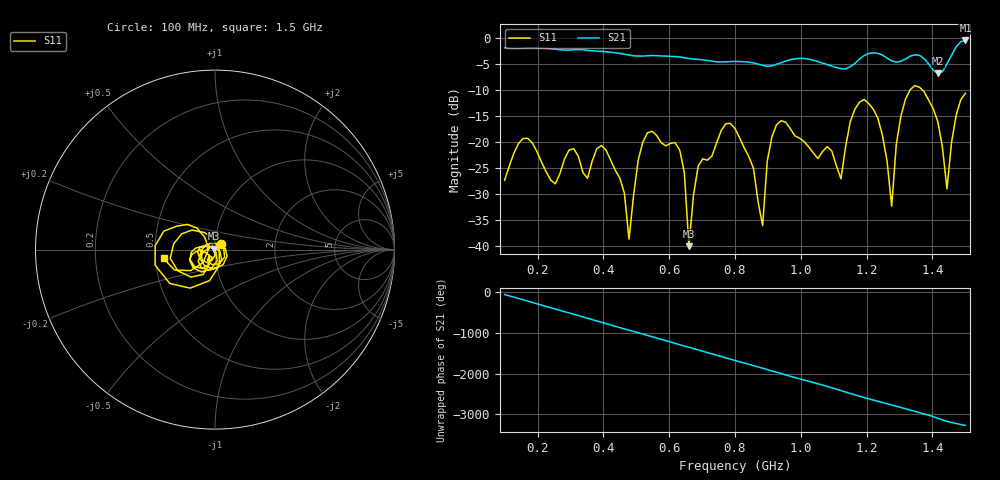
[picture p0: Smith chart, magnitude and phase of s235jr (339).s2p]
! NanoVNA-App
! Date: 2025-09-25 15:06:48
! Start: 100MHz Stop: 1,5GHz Points: 101
! S-Parameter data: F S11 S21 S12 S22
# Hz S RI R 50
!  Frequency  S11_Real  S11_Imag  S21_Real  S21_Imag  S12_Real  S12_Imag  S22_Real  S22_Imag
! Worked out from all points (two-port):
!   101 points, 100 MHz to 1.5 GHz, reference 50 ohm
!   highest |S21| = -0.56 dB at 1.5 GHz (marker M1); lowest = -6.9 dB at 1.416 GHz (marker M2)
!   |S21| within 3 dB of the highest: start of sweep to 503.1 MHz; 1.191 GHz to 1.253 GHz (62.05 MHz wide, 5.08 % of centre) (the widest 2 of 5)
!   lowest |S11| = -40.1 dB at 660 MHz (marker M3), VSWR 1.02, Z = 49.2 + j0.559 ohm
!   |S11| at or under -10 dB: start of sweep to 1.333 GHz; 1.368 GHz to end of sweep
!   S12 and S22 are empty: the file has one direction only
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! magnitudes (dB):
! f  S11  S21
! 100 MHz  -27.5  -2.0
! 156 MHz  -19.4  -2.0
! 338 MHz  -26.0  -2.4
! 408 MHz  -21.6  -2.7
! 478 MHz  -38.8  -3.4
! 520 MHz  -20.1  -3.6
! 576 MHz  -20.2  -3.5
! 632 MHz  -21.6  -3.7
! 660 MHz  -40.1  -4.0
! 688 MHz  -24.8  -4.2
! 800 MHz  -17.5  -4.6
! 884 MHz  -36.2  -5.4
! 926 MHz  -16.8  -5.1
! 1.038 GHz  -22.2  -4.3
! 1.122 GHz  -27.2  -6.0
! 1.192 GHz  -11.9  -3.5
! 1.248 GHz  -18.8  -3.4
! 1.276 GHz  -32.4  -4.5
! 1.332 GHz  -10.0  -3.6
! 1.416 GHz  -16.1  -6.9
! 1.444 GHz  -29.1  -5.1
! 1.5 GHz  -10.7  -0.6
